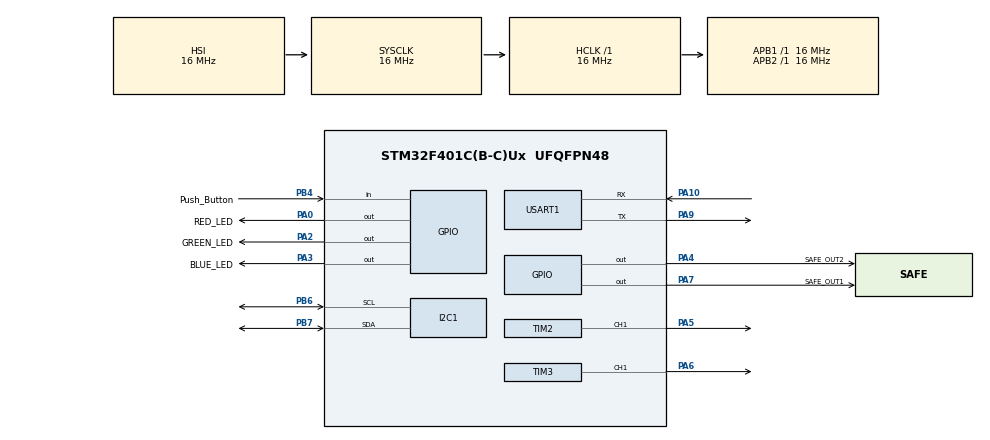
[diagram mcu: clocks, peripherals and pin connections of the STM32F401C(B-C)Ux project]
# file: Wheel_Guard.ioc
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Mcu.Family=STM32F4
Mcu.Name=STM32F401C(B-C)Ux
Mcu.Package=UFQFPN48
NVIC.PriorityGroup=NVIC_PRIORITYGROUP_4
PA0-WKUP.GPIO_Label=RED_LED
PA0-WKUP.Signal=GPIO_Output
PA10.Mode=Asynchronous
PA10.Signal=USART1_RX
PA2.GPIO_Label=GREEN_LED
PA2.Signal=GPIO_Output
PA3.GPIO_Label=BLUE_LED
PA3.Signal=GPIO_Output
PA4.GPIO_Label=SAFE_OUT2
PA4.Signal=GPIO_Output
PA5.Signal=S_TIM2_CH1_ETR
PA6.Signal=S_TIM3_CH1
PA7.GPIO_Label=SAFE_OUT1
PA7.Signal=GPIO_Output
PA9.Mode=Asynchronous
PA9.Signal=USART1_TX
PB4.GPIO_Label=Push_Button
PB4.GPIO_PuPd=GPIO_PULLDOWN
PB4.Signal=GPIO_Input
PB6.Mode=I2C
PB6.Signal=I2C1_SCL
PB7.Mode=I2C
PB7.Signal=I2C1_SDA
ProjectManager.HeapSize=0x200
ProjectManager.StackSize=0x400
ProjectManager.TargetToolchain=STM32CubeIDE
RCC.AHBFreq_Value=16000000
RCC.APB1Freq_Value=16000000
RCC.APB2Freq_Value=16000000
RCC.CortexFreq_Value=16000000
RCC.HSE_VALUE=25000000
RCC.HSI_VALUE=16000000
RCC.LSE_VALUE=32768
RCC.SYSCLKFreq_VALUE=16000000
RCC.VCOOutputFreq_Value=192000000
SH.S_TIM2_CH1_ETR.0=TIM2_CH1,Output Compare1 CH1
SH.S_TIM3_CH1.0=TIM3_CH1,Output Compare1 CH1
TIM2.Channel-Output\ Compare1\ CH1=TIM_CHANNEL_1
TIM2.Period=999
TIM2.Prescaler=15
TIM2.Pulse-Output\ Compare1\ CH1=800
TIM3.Channel-Output\ Compare1\ CH1=TIM_CHANNEL_1
TIM3.Period=999
TIM3.Prescaler=15
TIM3.Pulse-Output\ Compare1\ CH1=800
USART1.VirtualMode=VM_ASYNC
VP_TIM2_VS_ClockSourceINT.Mode=Internal
VP_TIM3_VS_ClockSourceINT.Mode=Internal
board=custom

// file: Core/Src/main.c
/* USER CODE BEGIN Header */
/**
  ******************************************************************************
  * @file           : main.c
  * @brief          : Main program body
  ******************************************************************************
  * @attention
  *
  * Copyright (c) 2026 STMicroelectronics.
  * All rights reserved.
  *
  * This software is licensed under terms that can be found in the LICENSE file
  * in the root directory of this software component.
  * If no LICENSE file comes with this software, it is provided AS-IS.
  *
  ******************************************************************************
  */
/* USER CODE END Header */
#include "main.h"

/* USER CODE BEGIN Includes */
#include <stdio.h>

/* USER CODE END Includes */

/* USER CODE BEGIN PTD */
typedef enum
{
  WHEELGUARD_STATE_IDLE = 0,
  WHEELGUARD_STATE_CHECK_BATTERY,
  WHEELGUARD_STATE_RUNNING,
  WHEELGUARD_STATE_SUCCESS_BLINK,
  WHEELGUARD_STATE_FAULT
} WheelGuardState;

typedef enum
{
  WHEELGUARD_FAULT_NONE = 0,
  WHEELGUARD_FAULT_LOW_BATTERY,
  WHEELGUARD_FAULT_OVERLOAD,
  WHEELGUARD_FAULT_STALL
} WheelGuardFault;

typedef struct
{
  uint8_t raw_state;
  uint8_t stable_state;
  uint32_t last_edge_tick;
} WheelGuardButton;

typedef struct
{
  HAL_StatusTypeDef status;
  int32_t bus_voltage_mv;
  int32_t current_deci_ma;
  int32_t avg_bus_voltage_mv;
  int32_t avg_current_deci_ma;
  int32_t voltage_samples[10];
  int32_t current_samples[30];
  uint32_t voltage_index;
  uint32_t current_index;
  uint32_t voltage_count;
  uint32_t current_count;
  int64_t voltage_sum;
  int64_t current_sum;
} WheelGuardSensorData;

typedef struct
{
  WheelGuardState state;
  WheelGuardFault fault;
  uint32_t run_start_tick;
  uint32_t fault_start_tick;
  uint32_t overload_start_tick;
  uint32_t stall_start_tick;
  uint32_t led_toggle_tick;
  uint8_t success_toggles_remaining;
  uint8_t battery_status_valid;
  uint8_t battery_low_active;
} WheelGuardApp;

/* USER CODE END PTD */

/* USER CODE BEGIN PD */
#define WHEELGUARD_BATTERY_NOMINAL_MV         7600L
#define WHEELGUARD_BATTERY_LOW_MV             6500L
#define WHEELGUARD_OVERLOAD_DECIMA            3500L
#define WHEELGUARD_STALL_DECIMA               2000L
#define WHEELGUARD_OVERLOAD_TIME_MS           500U
#define WHEELGUARD_STALL_TIME_MS              1000U
#define WHEELGUARD_RUN_TIME_MS                10000U
#define WHEELGUARD_MOTOR1_PWM_VALUE           500U
#define WHEELGUARD_MOTOR2_PWM_VALUE           900U
#define WHEELGUARD_PWM_REFERENCE_PERIOD       999U
#define WHEELGUARD_LOW_BATTERY_BLINK_MS       150U
#define WHEELGUARD_LOW_BATTERY_FAULT_MS       2000U
#define WHEELGUARD_OVERLOAD_BLINK_MS          500U
#define WHEELGUARD_STALL_BLINK_MS             250U
#define WHEELGUARD_SUCCESS_BLINK_MS           200U
#define WHEELGUARD_SUCCESS_FLASHES            3U
#define WHEELGUARD_BUTTON_DEBOUNCE_MS         50U
#define WHEELGUARD_STATUS_PERIOD_MS           500U
#define WHEELGUARD_VOLTAGE_AVG_SAMPLES        10U
#define WHEELGUARD_CURRENT_AVG_SAMPLES        30U
#define WHEELGUARD_TIMER_INACTIVE             0xFFFFFFFFU

#define WHEELGUARD_BUTTON_PORT                Push_Button_GPIO_Port
#define WHEELGUARD_BUTTON_PIN                 Push_Button_Pin
#define WHEELGUARD_RED_LED_PORT               RED_LED_GPIO_Port
#define WHEELGUARD_RED_LED_PIN                RED_LED_Pin
#define WHEELGUARD_GREEN_LED_PORT             GREEN_LED_GPIO_Port
#define WHEELGUARD_GREEN_LED_PIN              GREEN_LED_Pin
#define WHEELGUARD_BLUE_LED_PORT              BLUE_LED_GPIO_Port
#define WHEELGUARD_BLUE_LED_PIN               BLUE_LED_Pin

#define WHEELGUARD_MOTOR1_TIMER               htim3
#define WHEELGUARD_MOTOR1_CHANNEL             TIM_CHANNEL_1
#define WHEELGUARD_MOTOR2_TIMER               htim2
#define WHEELGUARD_MOTOR2_CHANNEL             TIM_CHANNEL_1

#define INA219_I2C_ADDR                       (0x40U << 1)
#define INA219_REG_CONFIG                     0x00U
#define INA219_REG_BUS_VOLTAGE                0x02U
#define INA219_REG_CURRENT                    0x04U
#define INA219_REG_CALIBRATION                0x05U
#define INA219_CONFIG_VALUE                   0x399FU
#define INA219_CALIBRATION_VALUE              4096U

/* USER CODE END PD */

I2C_HandleTypeDef hi2c1;

TIM_HandleTypeDef htim2;
TIM_HandleTypeDef htim3;

UART_HandleTypeDef huart1;

/* USER CODE BEGIN PV */
static WheelGuardApp g_app = {0};
static WheelGuardButton g_button = {0};
static WheelGuardSensorData g_sensor = {0};
static uint32_t g_last_status_tick = 0U;

/* USER CODE END PV */

void SystemClock_Config(void);
static void MX_GPIO_Init(void);
static void MX_I2C1_Init(void);
static void MX_TIM2_Init(void);
static void MX_TIM3_Init(void);
static void MX_USART1_UART_Init(void);
/* USER CODE BEGIN PFP */
static uint16_t WheelGuard_ScalePwmCompare(uint16_t legacy_compare, uint32_t timer_period);
static void set_motor_pwm(uint16_t motor1_pwm, uint16_t motor2_pwm);
static void stop_motors(void);
static void set_red_led(GPIO_PinState state);
static void set_green_led(GPIO_PinState state);
static void set_blue_led(GPIO_PinState state);
static void set_fault_indicator(WheelGuardFault fault);
static HAL_StatusTypeDef INA219_Init(void);
static HAL_StatusTypeDef INA219_Read(int32_t *bus_voltage_mv, int32_t *current_deci_ma);
static HAL_StatusTypeDef INA219_WriteRegister(uint8_t reg, uint16_t value);
static HAL_StatusTypeDef INA219_ReadRegister(uint8_t reg, uint16_t *value);
static int32_t update_moving_average(int32_t sample, int32_t *buffer, uint32_t window_size, uint32_t *index,
                                     uint32_t *count, int64_t *sum);
static uint8_t WheelGuard_UpdateButton(WheelGuardButton *button);
static void WheelGuard_UpdateSensors(WheelGuardSensorData *sensor);
static void WheelGuard_Init(WheelGuardApp *app);
static void WheelGuard_Process(WheelGuardApp *app, const WheelGuardSensorData *sensor, uint8_t button_pressed_event);
static void WheelGuard_EnterIdle(WheelGuardApp *app);
static void WheelGuard_EnterBatteryCheck(WheelGuardApp *app);
static void WheelGuard_StartRun(WheelGuardApp *app);
static void WheelGuard_HandleRun(WheelGuardApp *app, const WheelGuardSensorData *sensor);
static void WheelGuard_StartSuccessBlink(WheelGuardApp *app);
static void WheelGuard_HandleSuccessBlink(WheelGuardApp *app);
static void WheelGuard_EnterFault(WheelGuardApp *app, WheelGuardFault fault);
static void WheelGuard_HandleFault(WheelGuardApp *app, uint8_t button_pressed_event);
static void WheelGuard_ResetCurrentDetection(WheelGuardApp *app);
static void WheelGuard_RefreshBatteryHealthLeds(const WheelGuardApp *app);
static uint32_t WheelGuard_GetFaultBlinkPeriod(WheelGuardFault fault);
static const char *WheelGuard_GetStateName(WheelGuardState state);
static const char *WheelGuard_GetFaultName(WheelGuardFault fault);
static void print_status(const WheelGuardApp *app, const WheelGuardSensorData *sensor, uint8_t button_on);

/* USER CODE END PFP */

/* USER CODE BEGIN 0 */
static uint16_t WheelGuard_ScalePwmCompare(uint16_t legacy_compare, uint32_t timer_period)
{
  uint32_t scaled_compare;

  scaled_compare = ((uint32_t)legacy_compare * (timer_period + 1U)) / (WHEELGUARD_PWM_REFERENCE_PERIOD + 1U);
  if (scaled_compare > timer_period)
  {
    scaled_compare = timer_period;
  }

  return (uint16_t)scaled_compare;
}

/* USER CODE END 0 */

int main(void)
{

  /* MCU Configuration--------------------------------------------------------*/

  /* Reset of all peripherals, Initializes the Flash interface and the Systick. */
  HAL_Init();

  /* Configure the system clock */
  SystemClock_Config();

  /* Initialize all configured peripherals */
  MX_GPIO_Init();
  MX_I2C1_Init();
  MX_TIM2_Init();
  MX_TIM3_Init();
  MX_USART1_UART_Init();
  /* USER CODE BEGIN 2 */
  g_sensor.status = HAL_ERROR;

  if (HAL_TIM_PWM_Start(&WHEELGUARD_MOTOR2_TIMER, WHEELGUARD_MOTOR2_CHANNEL) != HAL_OK)
  {
    Error_Handler();
  }

  if (HAL_TIM_PWM_Start(&WHEELGUARD_MOTOR1_TIMER, WHEELGUARD_MOTOR1_CHANNEL) != HAL_OK)
  {
    Error_Handler();
  }

  stop_motors();
  set_red_led(GPIO_PIN_RESET);
  set_green_led(GPIO_PIN_RESET);
  set_blue_led(GPIO_PIN_RESET);
  WheelGuard_Init(&g_app);

  if (INA219_Init() != HAL_OK)
  {
    print_status(&g_app, &g_sensor, 0U);
  }

  /* USER CODE END 2 */

  /* Infinite loop */
  while (1)
  {

    /* USER CODE BEGIN 3 */
    uint8_t button_pressed_event = WheelGuard_UpdateButton(&g_button);

    WheelGuard_UpdateSensors(&g_sensor);
    WheelGuard_Process(&g_app, &g_sensor, button_pressed_event);

    if ((HAL_GetTick() - g_last_status_tick) >= WHEELGUARD_STATUS_PERIOD_MS)
    {
      g_last_status_tick = HAL_GetTick();
      print_status(&g_app, &g_sensor, g_button.stable_state);
    }
  }
  /* USER CODE END 3 */
}

void SystemClock_Config(void)
{
  RCC_OscInitTypeDef RCC_OscInitStruct = {0};
  RCC_ClkInitTypeDef RCC_ClkInitStruct = {0};

  /** Configure the main internal regulator output voltage
  */
  __HAL_RCC_PWR_CLK_ENABLE();
  __HAL_PWR_VOLTAGESCALING_CONFIG(PWR_REGULATOR_VOLTAGE_SCALE2);

  /** Initializes the RCC Oscillators according to the specified parameters
  * in the RCC_OscInitTypeDef structure.
  */
  RCC_OscInitStruct.OscillatorType = RCC_OSCILLATORTYPE_HSI;
  RCC_OscInitStruct.HSIState = RCC_HSI_ON;
  RCC_OscInitStruct.HSICalibrationValue = RCC_HSICALIBRATION_DEFAULT;
  RCC_OscInitStruct.PLL.PLLState = RCC_PLL_NONE;
  if (HAL_RCC_OscConfig(&RCC_OscInitStruct) != HAL_OK)
  {
    Error_Handler();
  }

  /** Initializes the CPU, AHB and APB buses clocks
  */
  RCC_ClkInitStruct.ClockType = RCC_CLOCKTYPE_HCLK|RCC_CLOCKTYPE_SYSCLK
                              |RCC_CLOCKTYPE_PCLK1|RCC_CLOCKTYPE_PCLK2;
  RCC_ClkInitStruct.SYSCLKSource = RCC_SYSCLKSOURCE_HSI;
  RCC_ClkInitStruct.AHBCLKDivider = RCC_SYSCLK_DIV1;
  RCC_ClkInitStruct.APB1CLKDivider = RCC_HCLK_DIV1;
  RCC_ClkInitStruct.APB2CLKDivider = RCC_HCLK_DIV1;

  if (HAL_RCC_ClockConfig(&RCC_ClkInitStruct, FLASH_LATENCY_0) != HAL_OK)
  {
    Error_Handler();
  }
}

static void MX_I2C1_Init(void)
{

  hi2c1.Instance = I2C1;
  hi2c1.Init.ClockSpeed = 100000;
  hi2c1.Init.DutyCycle = I2C_DUTYCYCLE_2;
  hi2c1.Init.OwnAddress1 = 0;
  hi2c1.Init.AddressingMode = I2C_ADDRESSINGMODE_7BIT;
  hi2c1.Init.DualAddressMode = I2C_DUALADDRESS_DISABLE;
  hi2c1.Init.OwnAddress2 = 0;
  hi2c1.Init.GeneralCallMode = I2C_GENERALCALL_DISABLE;
  hi2c1.Init.NoStretchMode = I2C_NOSTRETCH_DISABLE;
  if (HAL_I2C_Init(&hi2c1) != HAL_OK)
  {
    Error_Handler();
  }

}

static void MX_TIM2_Init(void)
{

  TIM_ClockConfigTypeDef sClockSourceConfig = {0};
  TIM_MasterConfigTypeDef sMasterConfig = {0};
  TIM_OC_InitTypeDef sConfigOC = {0};

  htim2.Instance = TIM2;
  htim2.Init.Prescaler = 15;
  htim2.Init.CounterMode = TIM_COUNTERMODE_UP;
  htim2.Init.Period = 999;
  htim2.Init.ClockDivision = TIM_CLOCKDIVISION_DIV1;
  htim2.Init.AutoReloadPreload = TIM_AUTORELOAD_PRELOAD_DISABLE;
  if (HAL_TIM_Base_Init(&htim2) != HAL_OK)
  {
    Error_Handler();
  }
  sClockSourceConfig.ClockSource = TIM_CLOCKSOURCE_INTERNAL;
  if (HAL_TIM_ConfigClockSource(&htim2, &sClockSourceConfig) != HAL_OK)
  {
    Error_Handler();
  }
  if (HAL_TIM_OC_Init(&htim2) != HAL_OK)
  {
    Error_Handler();
  }
  sMasterConfig.MasterOutputTrigger = TIM_TRGO_RESET;
  sMasterConfig.MasterSlaveMode = TIM_MASTERSLAVEMODE_DISABLE;
  if (HAL_TIMEx_MasterConfigSynchronization(&htim2, &sMasterConfig) != HAL_OK)
  {
    Error_Handler();
  }
  sConfigOC.OCMode = TIM_OCMODE_TIMING;
  sConfigOC.Pulse = 800;
  sConfigOC.OCPolarity = TIM_OCPOLARITY_HIGH;
  sConfigOC.OCFastMode = TIM_OCFAST_DISABLE;
  if (HAL_TIM_OC_ConfigChannel(&htim2, &sConfigOC, TIM_CHANNEL_1) != HAL_OK)
  {
    Error_Handler();
  }
  /* USER CODE BEGIN TIM2_Init 2 */
  if (HAL_TIM_PWM_Init(&htim2) != HAL_OK)
  {
    Error_Handler();
  }

  sConfigOC.OCMode = TIM_OCMODE_PWM1;
  sConfigOC.Pulse = 0;
  if (HAL_TIM_PWM_ConfigChannel(&htim2, &sConfigOC, TIM_CHANNEL_1) != HAL_OK)
  {
    Error_Handler();
  }

  /* USER CODE END TIM2_Init 2 */
  HAL_TIM_MspPostInit(&htim2);

}

static void MX_TIM3_Init(void)
{

  TIM_ClockConfigTypeDef sClockSourceConfig = {0};
  TIM_MasterConfigTypeDef sMasterConfig = {0};
  TIM_OC_InitTypeDef sConfigOC = {0};

  htim3.Instance = TIM3;
  htim3.Init.Prescaler = 15;
  htim3.Init.CounterMode = TIM_COUNTERMODE_UP;
  htim3.Init.Period = 999;
  htim3.Init.ClockDivision = TIM_CLOCKDIVISION_DIV1;
  htim3.Init.AutoReloadPreload = TIM_AUTORELOAD_PRELOAD_DISABLE;
  if (HAL_TIM_Base_Init(&htim3) != HAL_OK)
  {
    Error_Handler();
  }
  sClockSourceConfig.ClockSource = TIM_CLOCKSOURCE_INTERNAL;
  if (HAL_TIM_ConfigClockSource(&htim3, &sClockSourceConfig) != HAL_OK)
  {
    Error_Handler();
  }
  if (HAL_TIM_OC_Init(&htim3) != HAL_OK)
  {
    Error_Handler();
  }
  sMasterConfig.MasterOutputTrigger = TIM_TRGO_RESET;
  sMasterConfig.MasterSlaveMode = TIM_MASTERSLAVEMODE_DISABLE;
  if (HAL_TIMEx_MasterConfigSynchronization(&htim3, &sMasterConfig) != HAL_OK)
  {
    Error_Handler();
  }
  sConfigOC.OCMode = TIM_OCMODE_TIMING;
  sConfigOC.Pulse = 800;
  sConfigOC.OCPolarity = TIM_OCPOLARITY_HIGH;
  sConfigOC.OCFastMode = TIM_OCFAST_DISABLE;
  if (HAL_TIM_OC_ConfigChannel(&htim3, &sConfigOC, TIM_CHANNEL_1) != HAL_OK)
  {
    Error_Handler();
  }
  /* USER CODE BEGIN TIM3_Init 2 */
  if (HAL_TIM_PWM_Init(&htim3) != HAL_OK)
  {
    Error_Handler();
  }

  sConfigOC.OCMode = TIM_OCMODE_PWM1;
  sConfigOC.Pulse = 0;
  if (HAL_TIM_PWM_ConfigChannel(&htim3, &sConfigOC, TIM_CHANNEL_1) != HAL_OK)
  {
    Error_Handler();
  }

  /* USER CODE END TIM3_Init 2 */
  HAL_TIM_MspPostInit(&htim3);

}

static void MX_USART1_UART_Init(void)
{

  huart1.Instance = USART1;
  huart1.Init.BaudRate = 115200;
  huart1.Init.WordLength = UART_WORDLENGTH_8B;
  huart1.Init.StopBits = UART_STOPBITS_1;
  huart1.Init.Parity = UART_PARITY_NONE;
  huart1.Init.Mode = UART_MODE_TX_RX;
  huart1.Init.HwFlowCtl = UART_HWCONTROL_NONE;
  huart1.Init.OverSampling = UART_OVERSAMPLING_16;
  if (HAL_UART_Init(&huart1) != HAL_OK)
  {
    Error_Handler();
  }

}

static void MX_GPIO_Init(void)
{
  GPIO_InitTypeDef GPIO_InitStruct = {0};

  /* GPIO Ports Clock Enable */
  __HAL_RCC_GPIOA_CLK_ENABLE();
  __HAL_RCC_GPIOB_CLK_ENABLE();

  /*Configure GPIO pin Output Level */
  HAL_GPIO_WritePin(GPIOA, RED_LED_Pin|GREEN_LED_Pin|BLUE_LED_Pin|SAFE_OUT2_Pin
                          |SAFE_OUT1_Pin, GPIO_PIN_RESET);

  /*Configure GPIO pins : RED_LED_Pin GREEN_LED_Pin BLUE_LED_Pin SAFE_OUT2_Pin
                           SAFE_OUT1_Pin */
  GPIO_InitStruct.Pin = RED_LED_Pin|GREEN_LED_Pin|BLUE_LED_Pin|SAFE_OUT2_Pin
                          |SAFE_OUT1_Pin;
  GPIO_InitStruct.Mode = GPIO_MODE_OUTPUT_PP;
  GPIO_InitStruct.Pull = GPIO_NOPULL;
  GPIO_InitStruct.Speed = GPIO_SPEED_FREQ_LOW;
  HAL_GPIO_Init(GPIOA, &GPIO_InitStruct);

  /*Configure GPIO pin : Push_Button_Pin */
  GPIO_InitStruct.Pin = Push_Button_Pin;
  GPIO_InitStruct.Mode = GPIO_MODE_INPUT;
  GPIO_InitStruct.Pull = GPIO_NOPULL;
  HAL_GPIO_Init(Push_Button_GPIO_Port, &GPIO_InitStruct);

  /* USER CODE BEGIN MX_GPIO_Init_2 */
  /* Re-apply the intended active-high pulldown button config so the input
     cannot float high if the generated GPIO settings drift. */
  GPIO_InitStruct.Pin = Push_Button_Pin;
  GPIO_InitStruct.Mode = GPIO_MODE_INPUT;
  GPIO_InitStruct.Pull = GPIO_PULLDOWN;
  HAL_GPIO_Init(Push_Button_GPIO_Port, &GPIO_InitStruct);

  /* USER CODE END MX_GPIO_Init_2 */
}

/* USER CODE BEGIN 4 */
static void set_motor_pwm(uint16_t motor1_pwm, uint16_t motor2_pwm)
{
  uint16_t motor1_compare;
  uint16_t motor2_compare;

  motor1_compare = WheelGuard_ScalePwmCompare(motor1_pwm, __HAL_TIM_GET_AUTORELOAD(&WHEELGUARD_MOTOR1_TIMER));
  motor2_compare = WheelGuard_ScalePwmCompare(motor2_pwm, __HAL_TIM_GET_AUTORELOAD(&WHEELGUARD_MOTOR2_TIMER));

  __HAL_TIM_SET_COMPARE(&WHEELGUARD_MOTOR1_TIMER, WHEELGUARD_MOTOR1_CHANNEL, motor1_compare);
  __HAL_TIM_SET_COMPARE(&WHEELGUARD_MOTOR2_TIMER, WHEELGUARD_MOTOR2_CHANNEL, motor2_compare);
}

static void stop_motors(void)
{
  set_motor_pwm(0U, 0U);
}

static void set_red_led(GPIO_PinState state)
{
  HAL_GPIO_WritePin(WHEELGUARD_RED_LED_PORT, WHEELGUARD_RED_LED_PIN, state);
}

static void set_green_led(GPIO_PinState state)
{
  HAL_GPIO_WritePin(WHEELGUARD_GREEN_LED_PORT, WHEELGUARD_GREEN_LED_PIN, state);
}

static void set_blue_led(GPIO_PinState state)
{
  HAL_GPIO_WritePin(WHEELGUARD_BLUE_LED_PORT, WHEELGUARD_BLUE_LED_PIN, state);
}

static void set_fault_indicator(WheelGuardFault fault)
{
  if (fault == WHEELGUARD_FAULT_LOW_BATTERY)
  {
    set_red_led(GPIO_PIN_SET);
  }
  else
  {
    set_red_led(GPIO_PIN_SET);
  }
}

static HAL_StatusTypeDef INA219_Init(void)
{
  if (HAL_I2C_IsDeviceReady(&hi2c1, INA219_I2C_ADDR, 2, 100) != HAL_OK)
  {
    return HAL_ERROR;
  }

  if (INA219_WriteRegister(INA219_REG_CONFIG, INA219_CONFIG_VALUE) != HAL_OK)
  {
    return HAL_ERROR;
  }

  if (INA219_WriteRegister(INA219_REG_CALIBRATION, INA219_CALIBRATION_VALUE) != HAL_OK)
  {
    return HAL_ERROR;
  }

  return HAL_OK;
}

static HAL_StatusTypeDef INA219_Read(int32_t *bus_voltage_mv, int32_t *current_deci_ma)
{
  uint16_t bus_voltage_raw = 0;
  uint16_t current_raw = 0;

  if (INA219_ReadRegister(INA219_REG_BUS_VOLTAGE, &bus_voltage_raw) != HAL_OK)
  {
    return HAL_ERROR;
  }

  if (INA219_ReadRegister(INA219_REG_CURRENT, &current_raw) != HAL_OK)
  {
    return HAL_ERROR;
  }

  *bus_voltage_mv = (int32_t)(bus_voltage_raw >> 3) * 4;
  *current_deci_ma = (int32_t)((int16_t)current_raw);
  return HAL_OK;
}

static HAL_StatusTypeDef INA219_WriteRegister(uint8_t reg, uint16_t value)
{
  uint8_t data[2];

  data[0] = (uint8_t)(value >> 8);
  data[1] = (uint8_t)(value & 0xFFU);
  return HAL_I2C_Mem_Write(&hi2c1, INA219_I2C_ADDR, reg, I2C_MEMADD_SIZE_8BIT, data, sizeof(data), 100);
}

static HAL_StatusTypeDef INA219_ReadRegister(uint8_t reg, uint16_t *value)
{
  uint8_t data[2];

  if (HAL_I2C_Mem_Read(&hi2c1, INA219_I2C_ADDR, reg, I2C_MEMADD_SIZE_8BIT, data, sizeof(data), 100) != HAL_OK)
  {
    return HAL_ERROR;
  }

  *value = ((uint16_t)data[0] << 8) | data[1];
  return HAL_OK;
}

static int32_t update_moving_average(int32_t sample, int32_t *buffer, uint32_t window_size, uint32_t *index,
                                     uint32_t *count, int64_t *sum)
{
  if (*count < window_size)
  {
    (*count)++;
  }
  else
  {
    *sum -= buffer[*index];
  }

  buffer[*index] = sample;
  *sum += sample;
  *index = (*index + 1U) % window_size;

  return (int32_t)(*sum / (int64_t)(*count));
}

static uint8_t WheelGuard_UpdateButton(WheelGuardButton *button)
{
  uint8_t raw_state = (HAL_GPIO_ReadPin(WHEELGUARD_BUTTON_PORT, WHEELGUARD_BUTTON_PIN) == GPIO_PIN_SET);
  uint32_t now = HAL_GetTick();

  if (raw_state != button->raw_state)
  {
    button->raw_state = raw_state;
    button->last_edge_tick = now;
  }

  if (((now - button->last_edge_tick) >= WHEELGUARD_BUTTON_DEBOUNCE_MS) &&
      (raw_state != button->stable_state))
  {
    button->stable_state = raw_state;
    if (button->stable_state != 0U)
    {
      return 1U;
    }
  }

  return 0U;
}

static void WheelGuard_UpdateSensors(WheelGuardSensorData *sensor)
{
  sensor->status = INA219_Read(&sensor->bus_voltage_mv, &sensor->current_deci_ma);

  if (sensor->status == HAL_OK)
  {
    sensor->avg_bus_voltage_mv = update_moving_average(sensor->bus_voltage_mv, sensor->voltage_samples,
                                                       WHEELGUARD_VOLTAGE_AVG_SAMPLES, &sensor->voltage_index,
                                                       &sensor->voltage_count, &sensor->voltage_sum);
    sensor->avg_current_deci_ma = update_moving_average(sensor->current_deci_ma, sensor->current_samples,
                                                        WHEELGUARD_CURRENT_AVG_SAMPLES, &sensor->current_index,
                                                        &sensor->current_count, &sensor->current_sum);
  }
  else
  {
    (void)INA219_Init();
  }
}

static void WheelGuard_Init(WheelGuardApp *app)
{
  WheelGuard_EnterIdle(app);
}

static void WheelGuard_Process(WheelGuardApp *app, const WheelGuardSensorData *sensor, uint8_t button_pressed_event)
{
  if (sensor->status == HAL_OK)
  {
    app->battery_status_valid = 1U;
    app->battery_low_active = (uint8_t)(sensor->avg_bus_voltage_mv < WHEELGUARD_BATTERY_LOW_MV);
  }

  WheelGuard_RefreshBatteryHealthLeds(app);

  switch (app->state)
  {
    case WHEELGUARD_STATE_IDLE:
      stop_motors();
      set_blue_led(GPIO_PIN_RESET);
      if (button_pressed_event != 0U)
      {
        if (app->battery_low_active != 0U)
        {
          WheelGuard_EnterFault(app, WHEELGUARD_FAULT_LOW_BATTERY);
        }
        else
        {
          WheelGuard_EnterBatteryCheck(app);
        }
      }
      break;

    case WHEELGUARD_STATE_CHECK_BATTERY:
      stop_motors();
      set_blue_led(GPIO_PIN_RESET);
      if (sensor->status == HAL_OK)
      {
        if (sensor->avg_bus_voltage_mv < WHEELGUARD_BATTERY_LOW_MV)
        {
          WheelGuard_EnterFault(app, WHEELGUARD_FAULT_LOW_BATTERY);
        }
        else
        {
          WheelGuard_StartRun(app);
        }
      }
      break;

    case WHEELGUARD_STATE_RUNNING:
      WheelGuard_HandleRun(app, sensor);
      break;

    case WHEELGUARD_STATE_SUCCESS_BLINK:
      WheelGuard_HandleSuccessBlink(app);
      break;

    case WHEELGUARD_STATE_FAULT:
      WheelGuard_HandleFault(app, button_pressed_event);
      break;

    default:
      WheelGuard_EnterIdle(app);
      break;
  }
}

static void WheelGuard_EnterIdle(WheelGuardApp *app)
{
  app->state = WHEELGUARD_STATE_IDLE;
  app->fault = WHEELGUARD_FAULT_NONE;
  app->run_start_tick = 0U;
  app->fault_start_tick = 0U;
  app->led_toggle_tick = HAL_GetTick();
  app->success_toggles_remaining = 0U;
  WheelGuard_ResetCurrentDetection(app);
  stop_motors();
  WheelGuard_RefreshBatteryHealthLeds(app);
  set_blue_led(GPIO_PIN_RESET);
}

static void WheelGuard_EnterBatteryCheck(WheelGuardApp *app)
{
  app->state = WHEELGUARD_STATE_CHECK_BATTERY;
  app->fault = WHEELGUARD_FAULT_NONE;
  app->fault_start_tick = 0U;
  app->led_toggle_tick = HAL_GetTick();
  WheelGuard_ResetCurrentDetection(app);
  stop_motors();
  WheelGuard_RefreshBatteryHealthLeds(app);
  set_blue_led(GPIO_PIN_RESET);
}

static void WheelGuard_StartRun(WheelGuardApp *app)
{
  app->state = WHEELGUARD_STATE_RUNNING;
  app->fault = WHEELGUARD_FAULT_NONE;
  app->run_start_tick = HAL_GetTick();
  app->fault_start_tick = 0U;
  WheelGuard_ResetCurrentDetection(app);
  WheelGuard_RefreshBatteryHealthLeds(app);
  set_blue_led(GPIO_PIN_SET);
  set_motor_pwm(WHEELGUARD_MOTOR1_PWM_VALUE, WHEELGUARD_MOTOR2_PWM_VALUE);
}

static void WheelGuard_HandleRun(WheelGuardApp *app, const WheelGuardSensorData *sensor)
{
  uint32_t now = HAL_GetTick();

  set_blue_led(GPIO_PIN_SET);
  set_motor_pwm(WHEELGUARD_MOTOR1_PWM_VALUE, WHEELGUARD_MOTOR2_PWM_VALUE);

  if (sensor->status == HAL_OK)
  {
    if (sensor->avg_current_deci_ma >= WHEELGUARD_OVERLOAD_DECIMA)
    {
      if (app->overload_start_tick == WHEELGUARD_TIMER_INACTIVE)
      {
        app->overload_start_tick = now;
      }
    }
    else
    {
      app->overload_start_tick = WHEELGUARD_TIMER_INACTIVE;
    }

    if (sensor->avg_current_deci_ma >= WHEELGUARD_STALL_DECIMA)
    {
      if (app->stall_start_tick == WHEELGUARD_TIMER_INACTIVE)
      {
        app->stall_start_tick = now;
      }
    }
    else
    {
      app->stall_start_tick = WHEELGUARD_TIMER_INACTIVE;
    }

    if ((app->overload_start_tick != WHEELGUARD_TIMER_INACTIVE) &&
        ((now - app->overload_start_tick) >= WHEELGUARD_OVERLOAD_TIME_MS))
    {
      WheelGuard_EnterFault(app, WHEELGUARD_FAULT_OVERLOAD);
      return;
    }

    if ((app->stall_start_tick != WHEELGUARD_TIMER_INACTIVE) &&
        ((now - app->stall_start_tick) >= WHEELGUARD_STALL_TIME_MS))
    {
      WheelGuard_EnterFault(app, WHEELGUARD_FAULT_STALL);
      return;
    }
  }
  else
  {
    WheelGuard_ResetCurrentDetection(app);
  }

  if ((now - app->run_start_tick) >= WHEELGUARD_RUN_TIME_MS)
  {
    WheelGuard_StartSuccessBlink(app);
  }
}

static void WheelGuard_StartSuccessBlink(WheelGuardApp *app)
{
  app->state = WHEELGUARD_STATE_SUCCESS_BLINK;
  app->fault = WHEELGUARD_FAULT_NONE;
  app->fault_start_tick = 0U;
  app->led_toggle_tick = HAL_GetTick();
  app->success_toggles_remaining = (uint8_t)(WHEELGUARD_SUCCESS_FLASHES * 2U);
  WheelGuard_ResetCurrentDetection(app);
  stop_motors();
  WheelGuard_RefreshBatteryHealthLeds(app);
  set_blue_led(GPIO_PIN_RESET);
}

static void WheelGuard_HandleSuccessBlink(WheelGuardApp *app)
{
  if ((HAL_GetTick() - app->led_toggle_tick) >= WHEELGUARD_SUCCESS_BLINK_MS)
  {
    app->led_toggle_tick = HAL_GetTick();
    HAL_GPIO_TogglePin(WHEELGUARD_BLUE_LED_PORT, WHEELGUARD_BLUE_LED_PIN);

    if (app->success_toggles_remaining > 0U)
    {
      app->success_toggles_remaining--;
    }

    if (app->success_toggles_remaining == 0U)
    {
      set_blue_led(GPIO_PIN_RESET);
      WheelGuard_EnterIdle(app);
    }
  }
}

static void WheelGuard_EnterFault(WheelGuardApp *app, WheelGuardFault fault)
{
  app->state = WHEELGUARD_STATE_FAULT;
  app->fault = fault;
  app->fault_start_tick = HAL_GetTick();
  app->led_toggle_tick = HAL_GetTick();
  app->success_toggles_remaining = 0U;
  WheelGuard_ResetCurrentDetection(app);
  stop_motors();
  WheelGuard_RefreshBatteryHealthLeds(app);
  set_blue_led(GPIO_PIN_RESET);
  set_fault_indicator(fault);
}

static void WheelGuard_HandleFault(WheelGuardApp *app, uint8_t button_pressed_event)
{
  uint32_t now = HAL_GetTick();

  stop_motors();
  set_blue_led(GPIO_PIN_RESET);

  if (app->fault == WHEELGUARD_FAULT_LOW_BATTERY)
  {
    if ((now - app->fault_start_tick) >= WHEELGUARD_LOW_BATTERY_FAULT_MS)
    {
      WheelGuard_EnterIdle(app);
      return;
    }

    if ((now - app->led_toggle_tick) >= WHEELGUARD_LOW_BATTERY_BLINK_MS)
    {
      app->led_toggle_tick = now;
      HAL_GPIO_TogglePin(WHEELGUARD_RED_LED_PORT, WHEELGUARD_RED_LED_PIN);
    }
    return;
  }

  if (button_pressed_event != 0U)
  {
    WheelGuard_EnterBatteryCheck(app);
    return;
  }

  if ((now - app->led_toggle_tick) >= WheelGuard_GetFaultBlinkPeriod(app->fault))
  {
    app->led_toggle_tick = now;
    HAL_GPIO_TogglePin(WHEELGUARD_RED_LED_PORT, WHEELGUARD_RED_LED_PIN);
  }
}

static void WheelGuard_ResetCurrentDetection(WheelGuardApp *app)
{
  app->overload_start_tick = WHEELGUARD_TIMER_INACTIVE;
  app->stall_start_tick = WHEELGUARD_TIMER_INACTIVE;
}

static void WheelGuard_RefreshBatteryHealthLeds(const WheelGuardApp *app)
{
  GPIO_PinState green_state = GPIO_PIN_RESET;

  if ((app->battery_status_valid != 0U) && (app->battery_low_active == 0U))
  {
    green_state = GPIO_PIN_SET;
  }

  set_green_led(green_state);

  if ((app->state == WHEELGUARD_STATE_FAULT) && (app->fault == WHEELGUARD_FAULT_LOW_BATTERY))
  {
    return;
  }

  if ((app->state == WHEELGUARD_STATE_IDLE) &&
      (app->battery_status_valid != 0U) &&
      (app->battery_low_active != 0U))
  {
    set_red_led(GPIO_PIN_SET);
  }
  else if (app->state != WHEELGUARD_STATE_FAULT)
  {
    set_red_led(GPIO_PIN_RESET);
  }
}

static uint32_t WheelGuard_GetFaultBlinkPeriod(WheelGuardFault fault)
{
  if (fault == WHEELGUARD_FAULT_LOW_BATTERY)
  {
    return WHEELGUARD_LOW_BATTERY_BLINK_MS;
  }

  if (fault == WHEELGUARD_FAULT_STALL)
  {
    return WHEELGUARD_STALL_BLINK_MS;
  }

  return WHEELGUARD_OVERLOAD_BLINK_MS;
}

static const char *WheelGuard_GetStateName(WheelGuardState state)
{
  switch (state)
  {
    case WHEELGUARD_STATE_IDLE:
      return "IDLE";
    case WHEELGUARD_STATE_CHECK_BATTERY:
      return "CHECK_BATTERY";
    case WHEELGUARD_STATE_RUNNING:
      return "RUNNING";
    case WHEELGUARD_STATE_SUCCESS_BLINK:
      return "SUCCESS_BLINK";
    case WHEELGUARD_STATE_FAULT:
      return "FAULT";
    default:
      return "UNKNOWN";
  }
}

static const char *WheelGuard_GetFaultName(WheelGuardFault fault)
{
  switch (fault)
  {
    case WHEELGUARD_FAULT_NONE:
      return "NONE";
    case WHEELGUARD_FAULT_LOW_BATTERY:
      return "LOW_BATTERY";
    case WHEELGUARD_FAULT_OVERLOAD:
      return "OVERLOAD";
    case WHEELGUARD_FAULT_STALL:
      return "STALL";
    default:
      return "UNKNOWN";
  }
}

static void print_status(const WheelGuardApp *app, const WheelGuardSensorData *sensor, uint8_t button_on)
{
  char message[160];
  const char *current_sign = "";
  int32_t current_deci_ma_abs = sensor->avg_current_deci_ma;
  int length;

  if (current_deci_ma_abs < 0)
  {
    current_sign = "-";
    current_deci_ma_abs = -current_deci_ma_abs;
  }

  if (sensor->status == HAL_OK)
  {
    length = snprintf(message, sizeof(message),
                      "State:%s Fault:%s Button:%s Voltage:%ld.%03ld/%ld.%03ldV Current:%s%ld.%01ldmA\r\n",
                      WheelGuard_GetStateName(app->state),
                      WheelGuard_GetFaultName(app->fault),
                      button_on ? "PRESSED" : "RELEASED",
                      (long)(sensor->avg_bus_voltage_mv / 1000),
                      (long)(sensor->avg_bus_voltage_mv % 1000),
                      (long)(WHEELGUARD_BATTERY_NOMINAL_MV / 1000),
                      (long)(WHEELGUARD_BATTERY_NOMINAL_MV % 1000),
                      current_sign,
                      (long)(current_deci_ma_abs / 10),
                      (long)(current_deci_ma_abs % 10));
  }
  else
  {
    length = snprintf(message, sizeof(message),
                      "State:%s Fault:%s Button:%s INA219 read error\r\n",
                      WheelGuard_GetStateName(app->state),
                      WheelGuard_GetFaultName(app->fault),
                      button_on ? "PRESSED" : "RELEASED");
  }

  if (length > 0)
  {
    uint16_t tx_size = (uint16_t)((length < (int)sizeof(message)) ? length : (int)(sizeof(message) - 1U));
    (void)HAL_UART_Transmit(&huart1, (uint8_t *)message, tx_size, 100);
  }
}

/* USER CODE END 4 */

void Error_Handler(void)
{
  __disable_irq();
  while (1)
  {
  }
}
